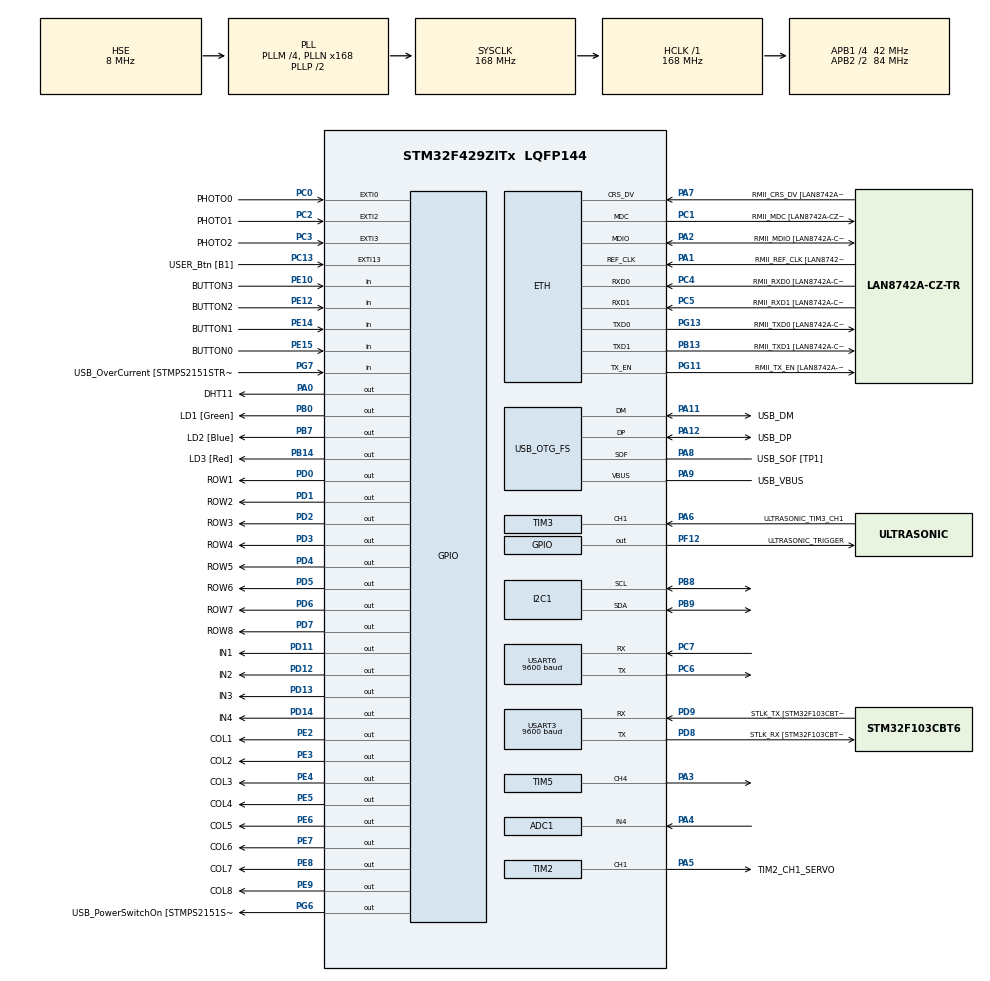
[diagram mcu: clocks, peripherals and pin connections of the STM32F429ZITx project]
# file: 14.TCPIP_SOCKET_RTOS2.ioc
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ADC1.Channel-2\#ChannelRegularConversion=ADC_CHANNEL_4
ADC1.ContinuousConvMode=ENABLE
ADC1.NbrOfConversionFlag=1
ADC1.Rank-2\#ChannelRegularConversion=1
ADC1.SamplingTime-2\#ChannelRegularConversion=ADC_SAMPLETIME_480CYCLES
ADC1.master=1
ETH.MACAddr=00\:80\:E1\:00\:00\:76
ETH.MediaInterface=HAL_ETH_RMII_MODE
FREERTOS.Mutexes01=myMutex01,Dynamic,NULL
FREERTOS.Tasks01=defaultTask,24,128,StartDefaultTask,Default,NULL,Dynamic,NULL,NULL;Task1,8,128,Task1_func,Default,NULL,Dynamic,NULL,NULL;Task2,8,128,Task2_func,Default,NULL,Dynamic,NULL,NULL;Task3,8,128,Task3_func,Default,NULL,Dynamic,NULL,NULL
FREERTOS.configUSE_NEWLIB_REENTRANT=1
LWIP.BSP.number=1
LWIP.GATEWAY_ADDRESS=010.010.015.254
LWIP.IP_ADDRESS=010.010.015.076
LWIP.LWIP_DHCP=0
LWIP.NETMASK_ADDRESS=255.255.255.000
LWIP.Version=v2.1.2_Cube
LWIP0.BSP.STBoard=false
LWIP0.BSP.api=BSP_COMPONENT_DRIVER
LWIP0.BSP.component=LAN8742
LWIP0.BSP.instance=LAN8742
LWIP0.BSP.name=Driver_PHY
LWIP0.BSP.semaphore=S_LAN8742
LWIP0.BSP.solution=LAN8742
Mcu.Family=STM32F4
Mcu.Name=STM32F429ZITx
Mcu.Package=LQFP144
NVIC.ADC_IRQn=true\:5\:0\:false\:false\:true\:true\:true\:true\:true
NVIC.ETH_IRQn=true\:5\:0\:false\:false\:true\:true\:true\:true\:true
NVIC.ETH_WKUP_IRQn=true\:5\:0\:false\:false\:true\:true\:true\:true\:true
NVIC.EXTI0_IRQn=true\:5\:0\:false\:false\:true\:true\:true\:true\:true
NVIC.EXTI2_IRQn=true\:5\:0\:false\:false\:true\:true\:true\:true\:true
NVIC.EXTI3_IRQn=true\:5\:0\:false\:false\:true\:true\:true\:true\:true
NVIC.PriorityGroup=NVIC_PRIORITYGROUP_4
NVIC.TIM1_TRG_COM_TIM11_IRQn=true\:5\:0\:false\:false\:true\:true\:true\:true\:true
NVIC.TIM1_UP_TIM10_IRQn=true\:5\:0\:false\:false\:true\:true\:true\:true\:true
NVIC.TIM2_IRQn=true\:5\:0\:false\:false\:true\:true\:true\:true\:true
NVIC.TIM3_IRQn=true\:5\:0\:false\:false\:true\:true\:true\:true\:true
NVIC.TIM4_IRQn=true\:5\:0\:false\:false\:true\:true\:true\:true\:true
NVIC.TIM5_IRQn=true\:5\:0\:false\:false\:true\:true\:true\:true\:true
NVIC.TIM6_DAC_IRQn=true\:15\:0\:false\:false\:true\:false\:false\:true\:true
NVIC.TimeBase=TIM6_DAC_IRQn
NVIC.TimeBaseIP=TIM6
NVIC.USART3_IRQn=true\:5\:0\:false\:false\:true\:true\:true\:true\:true
NVIC.USART6_IRQn=true\:5\:0\:false\:false\:true\:true\:true\:true\:true
PA0/WKUP.GPIO_Label=DHT11
PA0/WKUP.Signal=GPIO_Output
PA1.GPIO_Label=RMII_REF_CLK [LAN8742A-CZ-TR_REFCLK0]
PA1.Mode=RMII
PA1.Signal=ETH_REF_CLK
PA10.GPIO_Label=USB_ID
PA10.Signal=USB_OTG_FS_ID
PA11.GPIO_Label=USB_DM
PA11.Mode=Device_Only
PA11.Signal=USB_OTG_FS_DM
PA12.GPIO_Label=USB_DP
PA12.Mode=Device_Only
PA12.Signal=USB_OTG_FS_DP
PA13.GPIO_Label=TMS
PA13.Mode=Serial_Wire
PA13.Signal=SYS_JTMS-SWDIO
PA14.GPIO_Label=TCK
PA14.Mode=Serial_Wire
PA14.Signal=SYS_JTCK-SWCLK
PA2.GPIO_Label=RMII_MDIO [LAN8742A-CZ-TR_MDIO]
PA2.Mode=RMII
PA2.Signal=ETH_MDIO
PA3.Signal=S_TIM5_CH4
PA4.Signal=ADCx_IN4
PA5.GPIO_Label=TIM2_CH1_SERVO
PA5.Signal=S_TIM2_CH1_ETR
PA6.GPIO_Label=ULTRASONIC_TIM3_CH1
PA6.Signal=S_TIM3_CH1
PA7.GPIO_Label=RMII_CRS_DV [LAN8742A-CZ-TR_CRS_DV]
PA7.Mode=RMII
PA7.Signal=ETH_CRS_DV
PA8.GPIO_Label=USB_SOF [TP1]
PA8.Mode=Activate_SOF_FS
PA8.Signal=USB_OTG_FS_SOF
PA9.GPIO_Label=USB_VBUS
PA9.Mode=Activate_VBUS
PA9.Signal=USB_OTG_FS_VBUS
PB0.GPIO_Label=LD1 [Green]
PB0.Signal=GPIO_Output
PB13.GPIO_Label=RMII_TXD1 [LAN8742A-CZ-TR_TXD1]
PB13.Mode=RMII
PB13.Signal=ETH_TXD1
PB14.GPIO_Label=LD3 [Red]
PB14.Signal=GPIO_Output
PB7.GPIO_Label=LD2 [Blue]
PB7.Signal=GPIO_Output
PB8.Mode=I2C
PB8.Signal=I2C1_SCL
PB9.Mode=I2C
PB9.Signal=I2C1_SDA
PC0.GPIO_Label=PHOTO0
PC0.Signal=GPXTI0
PC1.GPIO_Label=RMII_MDC [LAN8742A-CZ-TR_MDC]
PC1.Mode=RMII
PC1.Signal=ETH_MDC
PC13.GPIO_Label=USER_Btn [B1]
PC13.Signal=GPXTI13
PC14/OSC32_IN.Mode=LSE-External-Oscillator
PC14/OSC32_IN.Signal=RCC_OSC32_IN
PC15/OSC32_OUT.Mode=LSE-External-Oscillator
PC15/OSC32_OUT.Signal=RCC_OSC32_OUT
PC2.GPIO_Label=PHOTO1
PC2.Signal=GPXTI2
PC3.GPIO_Label=PHOTO2
PC3.Signal=GPXTI3
PC4.GPIO_Label=RMII_RXD0 [LAN8742A-CZ-TR_RXD0]
PC4.Mode=RMII
PC4.Signal=ETH_RXD0
PC5.GPIO_Label=RMII_RXD1 [LAN8742A-CZ-TR_RXD1]
PC5.Mode=RMII
PC5.Signal=ETH_RXD1
PC6.Mode=Asynchronous
PC6.Signal=USART6_TX
PC7.Mode=Asynchronous
PC7.Signal=USART6_RX
PD0.GPIO_Label=ROW1
PD0.Signal=GPIO_Output
PD1.GPIO_Label=ROW2
PD1.Signal=GPIO_Output
PD11.GPIO_Label=IN1
PD11.Signal=GPIO_Output
PD12.GPIO_Label=IN2
PD12.Signal=GPIO_Output
PD13.GPIO_Label=IN3
PD13.Signal=GPIO_Output
PD14.GPIO_Label=IN4
PD14.Signal=GPIO_Output
PD2.GPIO_Label=ROW3
PD2.Signal=GPIO_Output
PD3.GPIO_Label=ROW4
PD3.Signal=GPIO_Output
PD4.GPIO_Label=ROW5
PD4.Signal=GPIO_Output
PD5.GPIO_Label=ROW6
PD5.Signal=GPIO_Output
PD6.GPIO_Label=ROW7
PD6.Signal=GPIO_Output
PD7.GPIO_Label=ROW8
PD7.Signal=GPIO_Output
PD8.GPIO_Label=STLK_RX [STM32F103CBT6_PA3]
PD8.Mode=Asynchronous
PD8.Signal=USART3_TX
PD9.GPIO_Label=STLK_TX [STM32F103CBT6_PA2]
PD9.Mode=Asynchronous
PD9.Signal=USART3_RX
PE10.GPIO_Label=BUTTON3
PE10.Signal=GPIO_Input
PE12.GPIO_Label=BUTTON2
PE12.Signal=GPIO_Input
PE14.GPIO_Label=BUTTON1
PE14.Signal=GPIO_Input
PE15.GPIO_Label=BUTTON0
PE15.Signal=GPIO_Input
PE2.GPIO_Label=COL1
PE2.Signal=GPIO_Output
PE3.GPIO_Label=COL2
PE3.Signal=GPIO_Output
PE4.GPIO_Label=COL3
PE4.Signal=GPIO_Output
PE5.GPIO_Label=COL4
PE5.Signal=GPIO_Output
PE6.GPIO_Label=COL5
PE6.Signal=GPIO_Output
PE7.GPIO_Label=COL6
PE7.Signal=GPIO_Output
PE8.GPIO_Label=COL7
PE8.Signal=GPIO_Output
PE9.GPIO_Label=COL8
PE9.Signal=GPIO_Output
PF12.GPIO_Label=ULTRASONIC_TRIGGER
PF12.Signal=GPIO_Output
PG11.GPIO_Label=RMII_TX_EN [LAN8742A-CZ-TR_TXEN]
PG11.Mode=RMII
PG11.Signal=ETH_TX_EN
PG13.GPIO_Label=RMII_TXD0 [LAN8742A-CZ-TR_TXD0]
PG13.Mode=RMII
PG13.Signal=ETH_TXD0
PG6.GPIO_Label=USB_PowerSwitchOn [STMPS2151STR_EN]
PG6.Signal=GPIO_Output
PG7.GPIO_Label=USB_OverCurrent [STMPS2151STR_FAULT]
PG7.Signal=GPIO_Input
PH0/OSC_IN.GPIO_Label=MCO [STM32F103CBT6_PA8]
PH0/OSC_IN.Mode=HSE-External-Clock-Source
PH0/OSC_IN.Signal=RCC_OSC_IN
PH1/OSC_OUT.Mode=HSE-External-Clock-Source
PH1/OSC_OUT.Signal=RCC_OSC_OUT
ProjectManager.HeapSize=0x200
ProjectManager.StackSize=0x400
ProjectManager.TargetToolchain=STM32CubeIDE
RCC.48MHZClocksFreq_Value=48000000
RCC.AHBFreq_Value=168000000
RCC.APB1CLKDivider=RCC_HCLK_DIV4
RCC.APB1Freq_Value=42000000
RCC.APB1TimFreq_Value=84000000
RCC.APB2CLKDivider=RCC_HCLK_DIV2
RCC.APB2Freq_Value=84000000
RCC.APB2TimCLKDivider=2
RCC.APB2TimFreq_Value=168000000
RCC.CortexFreq_Value=168000000
RCC.HCLKFreq_Value=168000000
RCC.HSE_VALUE=8000000
RCC.HSI_VALUE=16000000
RCC.PLLM=4
RCC.PLLMUL=RCC_PLL_MUL9
RCC.PLLN=168
RCC.PLLQ=7
RCC.PRESCALERUSB=RCC_USBCLKSOURCE_PLL_DIV1_5
RCC.SYSCLKFreq_VALUE=168000000
RCC.SYSCLKSource=RCC_SYSCLKSOURCE_PLLCLK
RCC.SYSCLKSourceVirtual=RCC_SYSCLKSOURCE_PLLCLK
RCC.USBFreq_Value=48000000
RCC.VCOOutputFreq_Value=336000000
RTC.Date=16
RTC.Hours=9
RTC.Minutes=38
RTC.Month=RTC_MONTH_OCTOBER
RTC.Year=23
SH.ADCx_IN4.0=ADC1_IN4,IN4
SH.S_TIM2_CH1_ETR.0=TIM2_CH1,PWM Generation1 CH1
SH.S_TIM3_CH1.0=TIM3_CH1,Input_Capture1_from_TI1
SH.S_TIM5_CH4.0=TIM5_CH4,PWM Generation4 CH4
TIM10.Period=10000-1
TIM10.Prescaler=168-1
TIM11.Prescaler=168-1
TIM2.Channel-PWM\ Generation1\ CH1=TIM_CHANNEL_1
TIM2.Period=1000-1
TIM2.Prescaler=1680-1
TIM2.Pulse-PWM\ Generation1\ CH1=500-1
TIM3.Channel-Input_Capture1_from_TI1=TIM_CHANNEL_1
TIM3.ICPolarity_CH1=TIM_INPUTCHANNELPOLARITY_BOTHEDGE
TIM3.Prescaler=84-1
TIM4.Period=100-1
TIM4.Prescaler=840-1
TIM5.Channel-PWM\ Generation4\ CH4=TIM_CHANNEL_4
TIM5.Period=400-1
TIM5.Prescaler=52.5-1
TIM5.Pulse-PWM\ Generation4\ CH4=200-1
USART3.BaudRate=9600
USART3.VirtualMode=VM_ASYNC
USART6.BaudRate=9600
USART6.VirtualMode=VM_ASYNC
USB_OTG_FS.VirtualMode=Device_Only
VP_FREERTOS_VS_CMSIS_V2.Mode=CMSIS_V2
VP_LWIP_VS_Enabled.Mode=Enabled
VP_RTC_VS_RTC_Activate.Mode=RTC_Enabled
VP_RTC_VS_RTC_Calendar.Mode=RTC_Calendar
VP_SYS_VS_tim6.Mode=TIM6
VP_TIM10_VS_ClockSourceINT.Mode=Enable_Timer
VP_TIM11_VS_ClockSourceINT.Mode=Enable_Timer
VP_TIM4_VS_ClockSourceINT.Mode=Internal
VP_TIM5_VS_ClockSourceINT.Mode=Internal
board=NUCLEO-F429ZI

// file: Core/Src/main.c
/* USER CODE BEGIN Header */
/**
  ******************************************************************************
  * @file           : main.c
  * @brief          : Main program body
  ******************************************************************************
  * @attention
  *
  * Copyright (c) 2023 STMicroelectronics.
  * All rights reserved.
  *
  * This software is licensed under terms that can be found in the LICENSE file
  * in the root directory of this software component.
  * If no LICENSE file comes with this software, it is provided AS-IS.
  *
  ******************************************************************************
  */
/* USER CODE END Header */
#include "main.h"
#include "cmsis_os.h"
#include "lwip.h"
/* USER CODE BEGIN Includes */
#include "lwip/udp.h"		// ADD_JUHEE
#include "udp_echoserver.h"  // ADD_SIKWON
/* USER CODE END Includes */

ADC_HandleTypeDef hadc1;

I2C_HandleTypeDef hi2c1;

RTC_HandleTypeDef hrtc;

TIM_HandleTypeDef htim2;
TIM_HandleTypeDef htim3;
TIM_HandleTypeDef htim4;
TIM_HandleTypeDef htim5;
TIM_HandleTypeDef htim10;
TIM_HandleTypeDef htim11;

UART_HandleTypeDef huart3;
UART_HandleTypeDef huart6;

PCD_HandleTypeDef hpcd_USB_OTG_FS;

/* Definitions for defaultTask */
osThreadId_t defaultTaskHandle;
const osThreadAttr_t defaultTask_attributes = {
  .name = "defaultTask",
  .stack_size = 128 * 4,
  .priority = (osPriority_t) osPriorityNormal,
};
/* Definitions for Task1 */
osThreadId_t Task1Handle;
const osThreadAttr_t Task1_attributes = {
  .name = "Task1",
  .stack_size = 128 * 4,
  .priority = (osPriority_t) osPriorityLow,
};
/* Definitions for Task2 */
osThreadId_t Task2Handle;
const osThreadAttr_t Task2_attributes = {
  .name = "Task2",
  .stack_size = 128 * 4,
  .priority = (osPriority_t) osPriorityLow,
};
/* Definitions for Task3 */
osThreadId_t Task3Handle;
const osThreadAttr_t Task3_attributes = {
  .name = "Task3",
  .stack_size = 128 * 4,
  .priority = (osPriority_t) osPriorityLow,
};
/* Definitions for myMutex01 */
osMutexId_t myMutex01Handle;
const osMutexAttr_t myMutex01_attributes = {
  .name = "myMutex01"
};
/* USER CODE BEGIN PV */
uint8_t rx_data;   // uart3 rx data
uint8_t bt_rx_data;   // uart6 bt rx data
volatile int TIM10_10ms_counter=0;
volatile int TIM10_10ms_ultrasonic=0;
/* USER CODE END PV */

void SystemClock_Config(void);
static void MX_GPIO_Init(void);
static void MX_USART3_UART_Init(void);
static void MX_USB_OTG_FS_PCD_Init(void);
static void MX_USART6_UART_Init(void);
static void MX_TIM10_Init(void);
static void MX_TIM11_Init(void);
static void MX_TIM3_Init(void);
static void MX_TIM4_Init(void);
static void MX_TIM2_Init(void);
static void MX_RTC_Init(void);
static void MX_TIM5_Init(void);
static void MX_I2C1_Init(void);
static void MX_ADC1_Init(void);
void StartDefaultTask(void *argument);
void Task1_func(void *argument);
void Task2_func(void *argument);
void Task3_func(void *argument);

/* USER CODE BEGIN PFP */
extern void led_main(void);
extern void pc_command_processing(void);
extern void bt_command_processing(void);
extern void DHT11_main(void);
extern void DHT11_Init(void);
extern void DHT11_processing(void);
extern void ultrasonic_processing(void);
extern void i2c_lcd_main(void);
extern void i2c_lcd_init(void);
extern void lcd_string(uint8_t *str);
extern void move_cursor(uint8_t row, uint8_t column);
extern void dcmotor_pwm_control(void);
extern void servo_motor_test_main(void);
extern void get_rtc(void);
extern void lcd_display_mode_select(void);
extern void set_time_button_ui(void);
extern void buzzer_main();
extern int dotmatrix_main_test(void);
extern int dotmatrix_main(void);
extern void stepmotor_main_test(void);

void delay_us(unsigned long us);
/* USER CODE END PFP */

/* USER CODE BEGIN 0 */
//---------------
// call by SysTick_Handler of stm32f4xx_it.c
// ARM default timer
// enter here every 1ms
volatile int t1ms_counter=0;  // volatile : for disable optimize
void HAL_SYSTICK_Handler(void)
{
	t1ms_counter++;   // 1ms timer
}
//----------  printf start ----------
#ifdef __GNUC__
/* With GCC, small printf (option LD Linker->Libraries->Small printf
   set to 'Yes') calls __io_putchar() */
#define PUTCHAR_PROTOTYPE int __io_putchar(int ch)
#else
#define PUTCHAR_PROTOTYPE int fputc(int ch, FILE *f)
#endif /* __GNUC_ */
/**
  * @brief  Retargets the C library printf function to the USART.
  * @param  None
  * @retval None
  */
PUTCHAR_PROTOTYPE   // Add for printf
{
  /* Place your implementation of fputc here */
  /* e.g. write a character to the USART3 and Loop until the end of transmission */
  HAL_UART_Transmit(&huart3, (uint8_t *)&ch, 1, 0xFFFF);

  return ch;
}
//----------  printf end ----------

void delay_us(unsigned long us)
{
	__HAL_TIM_SET_COUNTER(&htim11,0);   // tim11 clear
	while(__HAL_TIM_GET_COUNTER(&htim11) < us)
		;
}
// 1. move from Driver/STM32F4xx_HAL_Driver/Src/stm32f4xx_hal_gpio.c to here
// 2. enter here every external interrupt
volatile int ext_int_no = -1;  // GPIO_Pin?�� 0번도 존재?��?���???? 구분?���???? ?��?��?��
void HAL_GPIO_EXTI_Callback(uint16_t GPIO_Pin)
{
printf("EXT INT\0");
	switch(GPIO_Pin)
	{
	case PHOTO0_Pin:
		ext_int_no=GPIO_Pin;
		nucleo_stm32f429zi_led_off();
		HAL_GPIO_WritePin(GPIOB, GPIO_PIN_0, 1); // LED1
		break;
	case PHOTO1_Pin:
		ext_int_no=GPIO_Pin;
		nucleo_stm32f429zi_led_off();
		HAL_GPIO_WritePin(GPIOB, GPIO_PIN_7, 1);   // LED2
		break;
	case PHOTO2_Pin:
		ext_int_no=GPIO_Pin;
		nucleo_stm32f429zi_led_off();
		HAL_GPIO_WritePin(GPIOB, GPIO_PIN_14, 1);  // LED3
		break;
	}
}
uint16_t adcValue[4];
void HAL_ADC_ConvCpltCallback(ADC_HandleTypeDef* hadc)
{
	if (hadc->Instance == ADC1)
	{
		adcValue[0] = HAL_ADC_GetValue(&hadc1);
		HAL_ADC_Start_IT(&hadc1);
	}
}
// led off on STM32F429ZI
void nucleo_stm32f429zi_led_off()
{
	HAL_GPIO_WritePin(GPIOB, GPIO_PIN_0, 0);
	HAL_GPIO_WritePin(GPIOB, GPIO_PIN_7, 0);
	HAL_GPIO_WritePin(GPIOB, GPIO_PIN_14, 0);
}
void nucleo_stm32f429zi_led_on()
{
	HAL_GPIO_WritePin(GPIOB, GPIO_PIN_0, 1);
	HAL_GPIO_WritePin(GPIOB, GPIO_PIN_7, 1);
	HAL_GPIO_WritePin(GPIOB, GPIO_PIN_14, 1);
}
/* USER CODE END 0 */

int main(void)
{

  /* MCU Configuration--------------------------------------------------------*/

  /* Reset of all peripherals, Initializes the Flash interface and the Systick. */
  HAL_Init();

  /* Configure the system clock */
  SystemClock_Config();

  /* Initialize all configured peripherals */
  MX_GPIO_Init();
  MX_USART3_UART_Init();
  MX_USB_OTG_FS_PCD_Init();
  MX_USART6_UART_Init();
  MX_TIM10_Init();
  MX_TIM11_Init();
  MX_TIM3_Init();
  MX_TIM4_Init();
  MX_TIM2_Init();
  MX_RTC_Init();
  MX_TIM5_Init();
  MX_I2C1_Init();
  MX_ADC1_Init();
  /* USER CODE BEGIN 2 */
  HAL_UART_Receive_IT(&huart3, &rx_data, 1);   // assing to RX INT
  HAL_UART_Receive_IT(&huart6, &bt_rx_data, 1);   // for BT assing to RX INT
  HAL_TIM_Base_Start_IT(&htim10);   // ADD_SIKWON_1011
  HAL_TIM_Base_Start_IT(&htim11);   // ADD_SIKWON_1011
  HAL_TIM_IC_Start_IT(&htim3, TIM_CHANNEL_1);   // for count pulse(rising edge & falling edge)
  HAL_TIM_PWM_Start_IT(&htim4, TIM_CHANNEL_1);  // for DC motor PWM control
  HAL_TIM_PWM_Start(&htim2, TIM_CHANNEL_1);   // for SERVO motor PWM control
  HAL_TIM_PWM_Start(&htim5, TIM_CHANNEL_4);   // PIEZO Buzzer
  HAL_ADC_Start_IT(&hadc1);

//  DHT11_Init();
  i2c_lcd_init();
  init_dotmatrix();

  TIM10_10ms_counter=0;

// stepmotor_main_test();

//  dotmatrix_main();

//  dotmatrix_main_test();
//  led_main();
//  DHT11_main();
//  i2c_lcd_main();
//  servo_motor_test_main();
//    buzzer_main();

  /* USER CODE END 2 */

  /* Init scheduler */
  osKernelInitialize();
  /* Create the mutex(es) */
  /* creation of myMutex01 */
  myMutex01Handle = osMutexNew(&myMutex01_attributes);

  /* Create the thread(s) */
  /* creation of defaultTask */
  defaultTaskHandle = osThreadNew(StartDefaultTask, NULL, &defaultTask_attributes);

  /* creation of Task1 */
  Task1Handle = osThreadNew(Task1_func, NULL, &Task1_attributes);

  /* creation of Task2 */
  Task2Handle = osThreadNew(Task2_func, NULL, &Task2_attributes);

  /* creation of Task3 */
  Task3Handle = osThreadNew(Task3_func, NULL, &Task3_attributes);

  /* Start scheduler */
  osKernelStart();
  /* We should never get here as control is now taken by the scheduler */
  /* Infinite loop */
  /* USER CODE BEGIN WHILE */
  while (1)
  {
	  printf("cds sensor: %d\n", adcValue[0]);
	  if (adcValue[0] < 2500)
	  {
		  nucleo_stm32f429zi_led_on();
	  }
	  else
	  {
		  nucleo_stm32f429zi_led_off();
	  }
	  HAL_Delay(10);
//	DHT11_processing();
// 	pc_command_processing();
// 	bt_command_processing();
// 	ultrasonic_processing();
// 	dcmotor_pwm_control();
// 	get_rtc();
// 	lcd_display_mode_select();
// 	set_time_button_ui();
    /* USER CODE END WHILE */

  }
}

void SystemClock_Config(void)
{
  RCC_OscInitTypeDef RCC_OscInitStruct = {0};
  RCC_ClkInitTypeDef RCC_ClkInitStruct = {0};

  /** Configure the main internal regulator output voltage
  */
  __HAL_RCC_PWR_CLK_ENABLE();
  __HAL_PWR_VOLTAGESCALING_CONFIG(PWR_REGULATOR_VOLTAGE_SCALE1);

  /** Initializes the RCC Oscillators according to the specified parameters
  * in the RCC_OscInitTypeDef structure.
  */
  RCC_OscInitStruct.OscillatorType = RCC_OSCILLATORTYPE_LSI|RCC_OSCILLATORTYPE_HSE;
  RCC_OscInitStruct.HSEState = RCC_HSE_BYPASS;
  RCC_OscInitStruct.LSIState = RCC_LSI_ON;
  RCC_OscInitStruct.PLL.PLLState = RCC_PLL_ON;
  RCC_OscInitStruct.PLL.PLLSource = RCC_PLLSOURCE_HSE;
  RCC_OscInitStruct.PLL.PLLM = 4;
  RCC_OscInitStruct.PLL.PLLN = 168;
  RCC_OscInitStruct.PLL.PLLP = RCC_PLLP_DIV2;
  RCC_OscInitStruct.PLL.PLLQ = 7;
  if (HAL_RCC_OscConfig(&RCC_OscInitStruct) != HAL_OK)
  {
    Error_Handler();
  }

  /** Initializes the CPU, AHB and APB buses clocks
  */
  RCC_ClkInitStruct.ClockType = RCC_CLOCKTYPE_HCLK|RCC_CLOCKTYPE_SYSCLK
                              |RCC_CLOCKTYPE_PCLK1|RCC_CLOCKTYPE_PCLK2;
  RCC_ClkInitStruct.SYSCLKSource = RCC_SYSCLKSOURCE_PLLCLK;
  RCC_ClkInitStruct.AHBCLKDivider = RCC_SYSCLK_DIV1;
  RCC_ClkInitStruct.APB1CLKDivider = RCC_HCLK_DIV4;
  RCC_ClkInitStruct.APB2CLKDivider = RCC_HCLK_DIV2;

  if (HAL_RCC_ClockConfig(&RCC_ClkInitStruct, FLASH_LATENCY_5) != HAL_OK)
  {
    Error_Handler();
  }
}

static void MX_ADC1_Init(void)
{

  ADC_ChannelConfTypeDef sConfig = {0};

  /** Configure the global features of the ADC (Clock, Resolution, Data Alignment and number of conversion)
  */
  hadc1.Instance = ADC1;
  hadc1.Init.ClockPrescaler = ADC_CLOCK_SYNC_PCLK_DIV4;
  hadc1.Init.Resolution = ADC_RESOLUTION_12B;
  hadc1.Init.ScanConvMode = DISABLE;
  hadc1.Init.ContinuousConvMode = ENABLE;
  hadc1.Init.DiscontinuousConvMode = DISABLE;
  hadc1.Init.ExternalTrigConvEdge = ADC_EXTERNALTRIGCONVEDGE_NONE;
  hadc1.Init.ExternalTrigConv = ADC_SOFTWARE_START;
  hadc1.Init.DataAlign = ADC_DATAALIGN_RIGHT;
  hadc1.Init.NbrOfConversion = 1;
  hadc1.Init.DMAContinuousRequests = DISABLE;
  hadc1.Init.EOCSelection = ADC_EOC_SINGLE_CONV;
  if (HAL_ADC_Init(&hadc1) != HAL_OK)
  {
    Error_Handler();
  }

  /** Configure for the selected ADC regular channel its corresponding rank in the sequencer and its sample time.
  */
  sConfig.Channel = ADC_CHANNEL_4;
  sConfig.Rank = 1;
  sConfig.SamplingTime = ADC_SAMPLETIME_480CYCLES;
  if (HAL_ADC_ConfigChannel(&hadc1, &sConfig) != HAL_OK)
  {
    Error_Handler();
  }

}

static void MX_I2C1_Init(void)
{

  hi2c1.Instance = I2C1;
  hi2c1.Init.ClockSpeed = 100000;
  hi2c1.Init.DutyCycle = I2C_DUTYCYCLE_2;
  hi2c1.Init.OwnAddress1 = 0;
  hi2c1.Init.AddressingMode = I2C_ADDRESSINGMODE_7BIT;
  hi2c1.Init.DualAddressMode = I2C_DUALADDRESS_DISABLE;
  hi2c1.Init.OwnAddress2 = 0;
  hi2c1.Init.GeneralCallMode = I2C_GENERALCALL_DISABLE;
  hi2c1.Init.NoStretchMode = I2C_NOSTRETCH_DISABLE;
  if (HAL_I2C_Init(&hi2c1) != HAL_OK)
  {
    Error_Handler();
  }

  /** Configure Analogue filter
  */
  if (HAL_I2CEx_ConfigAnalogFilter(&hi2c1, I2C_ANALOGFILTER_ENABLE) != HAL_OK)
  {
    Error_Handler();
  }

  /** Configure Digital filter
  */
  if (HAL_I2CEx_ConfigDigitalFilter(&hi2c1, 0) != HAL_OK)
  {
    Error_Handler();
  }

}

static void MX_RTC_Init(void)
{

  RTC_TimeTypeDef sTime = {0};
  RTC_DateTypeDef sDate = {0};

  /** Initialize RTC Only
  */
  hrtc.Instance = RTC;
  hrtc.Init.HourFormat = RTC_HOURFORMAT_24;
  hrtc.Init.AsynchPrediv = 127;
  hrtc.Init.SynchPrediv = 255;
  hrtc.Init.OutPut = RTC_OUTPUT_DISABLE;
  hrtc.Init.OutPutPolarity = RTC_OUTPUT_POLARITY_HIGH;
  hrtc.Init.OutPutType = RTC_OUTPUT_TYPE_OPENDRAIN;
  if (HAL_RTC_Init(&hrtc) != HAL_OK)
  {
    Error_Handler();
  }

  /** Initialize RTC and set the Time and Date
  */
  sTime.Hours = 0x9;
  sTime.Minutes = 0x38;
  sTime.Seconds = 0x0;
  sTime.DayLightSaving = RTC_DAYLIGHTSAVING_NONE;
  sTime.StoreOperation = RTC_STOREOPERATION_RESET;
  if (HAL_RTC_SetTime(&hrtc, &sTime, RTC_FORMAT_BCD) != HAL_OK)
  {
    Error_Handler();
  }
  sDate.WeekDay = RTC_WEEKDAY_MONDAY;
  sDate.Month = RTC_MONTH_OCTOBER;
  sDate.Date = 0x16;
  sDate.Year = 0x23;

  if (HAL_RTC_SetDate(&hrtc, &sDate, RTC_FORMAT_BCD) != HAL_OK)
  {
    Error_Handler();
  }

}

static void MX_TIM2_Init(void)
{

  TIM_MasterConfigTypeDef sMasterConfig = {0};
  TIM_OC_InitTypeDef sConfigOC = {0};

  htim2.Instance = TIM2;
  htim2.Init.Prescaler = 1680-1;
  htim2.Init.CounterMode = TIM_COUNTERMODE_UP;
  htim2.Init.Period = 1000-1;
  htim2.Init.ClockDivision = TIM_CLOCKDIVISION_DIV1;
  htim2.Init.AutoReloadPreload = TIM_AUTORELOAD_PRELOAD_DISABLE;
  if (HAL_TIM_PWM_Init(&htim2) != HAL_OK)
  {
    Error_Handler();
  }
  sMasterConfig.MasterOutputTrigger = TIM_TRGO_RESET;
  sMasterConfig.MasterSlaveMode = TIM_MASTERSLAVEMODE_DISABLE;
  if (HAL_TIMEx_MasterConfigSynchronization(&htim2, &sMasterConfig) != HAL_OK)
  {
    Error_Handler();
  }
  sConfigOC.OCMode = TIM_OCMODE_PWM1;
  sConfigOC.Pulse = 500-1;
  sConfigOC.OCPolarity = TIM_OCPOLARITY_HIGH;
  sConfigOC.OCFastMode = TIM_OCFAST_DISABLE;
  if (HAL_TIM_PWM_ConfigChannel(&htim2, &sConfigOC, TIM_CHANNEL_1) != HAL_OK)
  {
    Error_Handler();
  }
  HAL_TIM_MspPostInit(&htim2);

}

static void MX_TIM3_Init(void)
{

  TIM_MasterConfigTypeDef sMasterConfig = {0};
  TIM_IC_InitTypeDef sConfigIC = {0};

  htim3.Instance = TIM3;
  htim3.Init.Prescaler = 84-1;
  htim3.Init.CounterMode = TIM_COUNTERMODE_UP;
  htim3.Init.Period = 65535;
  htim3.Init.ClockDivision = TIM_CLOCKDIVISION_DIV1;
  htim3.Init.AutoReloadPreload = TIM_AUTORELOAD_PRELOAD_DISABLE;
  if (HAL_TIM_IC_Init(&htim3) != HAL_OK)
  {
    Error_Handler();
  }
  sMasterConfig.MasterOutputTrigger = TIM_TRGO_RESET;
  sMasterConfig.MasterSlaveMode = TIM_MASTERSLAVEMODE_DISABLE;
  if (HAL_TIMEx_MasterConfigSynchronization(&htim3, &sMasterConfig) != HAL_OK)
  {
    Error_Handler();
  }
  sConfigIC.ICPolarity = TIM_INPUTCHANNELPOLARITY_BOTHEDGE;
  sConfigIC.ICSelection = TIM_ICSELECTION_DIRECTTI;
  sConfigIC.ICPrescaler = TIM_ICPSC_DIV1;
  sConfigIC.ICFilter = 0;
  if (HAL_TIM_IC_ConfigChannel(&htim3, &sConfigIC, TIM_CHANNEL_1) != HAL_OK)
  {
    Error_Handler();
  }

}

static void MX_TIM4_Init(void)
{

  TIM_ClockConfigTypeDef sClockSourceConfig = {0};
  TIM_MasterConfigTypeDef sMasterConfig = {0};

  htim4.Instance = TIM4;
  htim4.Init.Prescaler = 840-1;
  htim4.Init.CounterMode = TIM_COUNTERMODE_UP;
  htim4.Init.Period = 100-1;
  htim4.Init.ClockDivision = TIM_CLOCKDIVISION_DIV1;
  htim4.Init.AutoReloadPreload = TIM_AUTORELOAD_PRELOAD_DISABLE;
  if (HAL_TIM_Base_Init(&htim4) != HAL_OK)
  {
    Error_Handler();
  }
  sClockSourceConfig.ClockSource = TIM_CLOCKSOURCE_INTERNAL;
  if (HAL_TIM_ConfigClockSource(&htim4, &sClockSourceConfig) != HAL_OK)
  {
    Error_Handler();
  }
  sMasterConfig.MasterOutputTrigger = TIM_TRGO_RESET;
  sMasterConfig.MasterSlaveMode = TIM_MASTERSLAVEMODE_DISABLE;
  if (HAL_TIMEx_MasterConfigSynchronization(&htim4, &sMasterConfig) != HAL_OK)
  {
    Error_Handler();
  }

}

static void MX_TIM5_Init(void)
{

  TIM_ClockConfigTypeDef sClockSourceConfig = {0};
  TIM_MasterConfigTypeDef sMasterConfig = {0};
  TIM_OC_InitTypeDef sConfigOC = {0};

  htim5.Instance = TIM5;
  htim5.Init.Prescaler = 52.5-1;
  htim5.Init.CounterMode = TIM_COUNTERMODE_UP;
  htim5.Init.Period = 400-1;
  htim5.Init.ClockDivision = TIM_CLOCKDIVISION_DIV1;
  htim5.Init.AutoReloadPreload = TIM_AUTORELOAD_PRELOAD_DISABLE;
  if (HAL_TIM_Base_Init(&htim5) != HAL_OK)
  {
    Error_Handler();
  }
  sClockSourceConfig.ClockSource = TIM_CLOCKSOURCE_INTERNAL;
  if (HAL_TIM_ConfigClockSource(&htim5, &sClockSourceConfig) != HAL_OK)
  {
    Error_Handler();
  }
  if (HAL_TIM_PWM_Init(&htim5) != HAL_OK)
  {
    Error_Handler();
  }
  sMasterConfig.MasterOutputTrigger = TIM_TRGO_RESET;
  sMasterConfig.MasterSlaveMode = TIM_MASTERSLAVEMODE_DISABLE;
  if (HAL_TIMEx_MasterConfigSynchronization(&htim5, &sMasterConfig) != HAL_OK)
  {
    Error_Handler();
  }
  sConfigOC.OCMode = TIM_OCMODE_PWM1;
  sConfigOC.Pulse = 200-1;
  sConfigOC.OCPolarity = TIM_OCPOLARITY_HIGH;
  sConfigOC.OCFastMode = TIM_OCFAST_DISABLE;
  if (HAL_TIM_PWM_ConfigChannel(&htim5, &sConfigOC, TIM_CHANNEL_4) != HAL_OK)
  {
    Error_Handler();
  }
  HAL_TIM_MspPostInit(&htim5);

}

static void MX_TIM10_Init(void)
{

  htim10.Instance = TIM10;
  htim10.Init.Prescaler = 168-1;
  htim10.Init.CounterMode = TIM_COUNTERMODE_UP;
  htim10.Init.Period = 10000-1;
  htim10.Init.ClockDivision = TIM_CLOCKDIVISION_DIV1;
  htim10.Init.AutoReloadPreload = TIM_AUTORELOAD_PRELOAD_DISABLE;
  if (HAL_TIM_Base_Init(&htim10) != HAL_OK)
  {
    Error_Handler();
  }

}

static void MX_TIM11_Init(void)
{

  htim11.Instance = TIM11;
  htim11.Init.Prescaler = 168-1;
  htim11.Init.CounterMode = TIM_COUNTERMODE_UP;
  htim11.Init.Period = 65535;
  htim11.Init.ClockDivision = TIM_CLOCKDIVISION_DIV1;
  htim11.Init.AutoReloadPreload = TIM_AUTORELOAD_PRELOAD_DISABLE;
  if (HAL_TIM_Base_Init(&htim11) != HAL_OK)
  {
    Error_Handler();
  }

}

static void MX_USART3_UART_Init(void)
{

  huart3.Instance = USART3;
  huart3.Init.BaudRate = 9600;
  huart3.Init.WordLength = UART_WORDLENGTH_8B;
  huart3.Init.StopBits = UART_STOPBITS_1;
  huart3.Init.Parity = UART_PARITY_NONE;
  huart3.Init.Mode = UART_MODE_TX_RX;
  huart3.Init.HwFlowCtl = UART_HWCONTROL_NONE;
  huart3.Init.OverSampling = UART_OVERSAMPLING_16;
  if (HAL_UART_Init(&huart3) != HAL_OK)
  {
    Error_Handler();
  }

}

static void MX_USART6_UART_Init(void)
{

  huart6.Instance = USART6;
  huart6.Init.BaudRate = 9600;
  huart6.Init.WordLength = UART_WORDLENGTH_8B;
  huart6.Init.StopBits = UART_STOPBITS_1;
  huart6.Init.Parity = UART_PARITY_NONE;
  huart6.Init.Mode = UART_MODE_TX_RX;
  huart6.Init.HwFlowCtl = UART_HWCONTROL_NONE;
  huart6.Init.OverSampling = UART_OVERSAMPLING_16;
  if (HAL_UART_Init(&huart6) != HAL_OK)
  {
    Error_Handler();
  }

}

static void MX_USB_OTG_FS_PCD_Init(void)
{

  hpcd_USB_OTG_FS.Instance = USB_OTG_FS;
  hpcd_USB_OTG_FS.Init.dev_endpoints = 4;
  hpcd_USB_OTG_FS.Init.speed = PCD_SPEED_FULL;
  hpcd_USB_OTG_FS.Init.dma_enable = DISABLE;
  hpcd_USB_OTG_FS.Init.phy_itface = PCD_PHY_EMBEDDED;
  hpcd_USB_OTG_FS.Init.Sof_enable = ENABLE;
  hpcd_USB_OTG_FS.Init.low_power_enable = DISABLE;
  hpcd_USB_OTG_FS.Init.lpm_enable = DISABLE;
  hpcd_USB_OTG_FS.Init.vbus_sensing_enable = ENABLE;
  hpcd_USB_OTG_FS.Init.use_dedicated_ep1 = DISABLE;
  if (HAL_PCD_Init(&hpcd_USB_OTG_FS) != HAL_OK)
  {
    Error_Handler();
  }

}

static void MX_GPIO_Init(void)
{
  GPIO_InitTypeDef GPIO_InitStruct = {0};

  /* GPIO Ports Clock Enable */
  __HAL_RCC_GPIOE_CLK_ENABLE();
  __HAL_RCC_GPIOC_CLK_ENABLE();
  __HAL_RCC_GPIOH_CLK_ENABLE();
  __HAL_RCC_GPIOA_CLK_ENABLE();
  __HAL_RCC_GPIOB_CLK_ENABLE();
  __HAL_RCC_GPIOF_CLK_ENABLE();
  __HAL_RCC_GPIOD_CLK_ENABLE();
  __HAL_RCC_GPIOG_CLK_ENABLE();

  /*Configure GPIO pin Output Level */
  HAL_GPIO_WritePin(GPIOE, COL1_Pin|COL2_Pin|COL3_Pin|COL4_Pin
                          |COL5_Pin|COL6_Pin|COL7_Pin|COL8_Pin, GPIO_PIN_RESET);

  /*Configure GPIO pin Output Level */
  HAL_GPIO_WritePin(DHT11_GPIO_Port, DHT11_Pin, GPIO_PIN_RESET);

  /*Configure GPIO pin Output Level */
  HAL_GPIO_WritePin(GPIOB, LD1_Pin|LD3_Pin|LD2_Pin, GPIO_PIN_RESET);

  /*Configure GPIO pin Output Level */
  HAL_GPIO_WritePin(ULTRASONIC_TRIGGER_GPIO_Port, ULTRASONIC_TRIGGER_Pin, GPIO_PIN_RESET);

  /*Configure GPIO pin Output Level */
  HAL_GPIO_WritePin(GPIOD, IN1_Pin|IN2_Pin|IN3_Pin|IN4_Pin
                          |ROW1_Pin|ROW2_Pin|ROW3_Pin|ROW4_Pin
                          |ROW5_Pin|ROW6_Pin|ROW7_Pin|ROW8_Pin, GPIO_PIN_RESET);

  /*Configure GPIO pin Output Level */
  HAL_GPIO_WritePin(USB_PowerSwitchOn_GPIO_Port, USB_PowerSwitchOn_Pin, GPIO_PIN_RESET);

  /*Configure GPIO pins : COL1_Pin COL2_Pin COL3_Pin COL4_Pin
                           COL5_Pin COL6_Pin COL7_Pin COL8_Pin */
  GPIO_InitStruct.Pin = COL1_Pin|COL2_Pin|COL3_Pin|COL4_Pin
                          |COL5_Pin|COL6_Pin|COL7_Pin|COL8_Pin;
  GPIO_InitStruct.Mode = GPIO_MODE_OUTPUT_PP;
  GPIO_InitStruct.Pull = GPIO_NOPULL;
  GPIO_InitStruct.Speed = GPIO_SPEED_FREQ_LOW;
  HAL_GPIO_Init(GPIOE, &GPIO_InitStruct);

  /*Configure GPIO pins : USER_Btn_Pin PHOTO0_Pin PHOTO1_Pin PHOTO2_Pin */
  GPIO_InitStruct.Pin = USER_Btn_Pin|PHOTO0_Pin|PHOTO1_Pin|PHOTO2_Pin;
  GPIO_InitStruct.Mode = GPIO_MODE_IT_RISING;
  GPIO_InitStruct.Pull = GPIO_NOPULL;
  HAL_GPIO_Init(GPIOC, &GPIO_InitStruct);

  /*Configure GPIO pin : DHT11_Pin */
  GPIO_InitStruct.Pin = DHT11_Pin;
  GPIO_InitStruct.Mode = GPIO_MODE_OUTPUT_PP;
  GPIO_InitStruct.Pull = GPIO_NOPULL;
  GPIO_InitStruct.Speed = GPIO_SPEED_FREQ_LOW;
  HAL_GPIO_Init(DHT11_GPIO_Port, &GPIO_InitStruct);

  /*Configure GPIO pins : LD1_Pin LD3_Pin LD2_Pin */
  GPIO_InitStruct.Pin = LD1_Pin|LD3_Pin|LD2_Pin;
  GPIO_InitStruct.Mode = GPIO_MODE_OUTPUT_PP;
  GPIO_InitStruct.Pull = GPIO_NOPULL;
  GPIO_InitStruct.Speed = GPIO_SPEED_FREQ_LOW;
  HAL_GPIO_Init(GPIOB, &GPIO_InitStruct);

  /*Configure GPIO pin : ULTRASONIC_TRIGGER_Pin */
  GPIO_InitStruct.Pin = ULTRASONIC_TRIGGER_Pin;
  GPIO_InitStruct.Mode = GPIO_MODE_OUTPUT_PP;
  GPIO_InitStruct.Pull = GPIO_NOPULL;
  GPIO_InitStruct.Speed = GPIO_SPEED_FREQ_LOW;
  HAL_GPIO_Init(ULTRASONIC_TRIGGER_GPIO_Port, &GPIO_InitStruct);

  /*Configure GPIO pins : BUTTON3_Pin BUTTON2_Pin BUTTON1_Pin BUTTON0_Pin */
  GPIO_InitStruct.Pin = BUTTON3_Pin|BUTTON2_Pin|BUTTON1_Pin|BUTTON0_Pin;
  GPIO_InitStruct.Mode = GPIO_MODE_INPUT;
  GPIO_InitStruct.Pull = GPIO_NOPULL;
  HAL_GPIO_Init(GPIOE, &GPIO_InitStruct);

  /*Configure GPIO pins : IN1_Pin IN2_Pin IN3_Pin IN4_Pin
                           ROW1_Pin ROW2_Pin ROW3_Pin ROW4_Pin
                           ROW5_Pin ROW6_Pin ROW7_Pin ROW8_Pin */
  GPIO_InitStruct.Pin = IN1_Pin|IN2_Pin|IN3_Pin|IN4_Pin
                          |ROW1_Pin|ROW2_Pin|ROW3_Pin|ROW4_Pin
                          |ROW5_Pin|ROW6_Pin|ROW7_Pin|ROW8_Pin;
  GPIO_InitStruct.Mode = GPIO_MODE_OUTPUT_PP;
  GPIO_InitStruct.Pull = GPIO_NOPULL;
  GPIO_InitStruct.Speed = GPIO_SPEED_FREQ_LOW;
  HAL_GPIO_Init(GPIOD, &GPIO_InitStruct);

  /*Configure GPIO pin : USB_PowerSwitchOn_Pin */
  GPIO_InitStruct.Pin = USB_PowerSwitchOn_Pin;
  GPIO_InitStruct.Mode = GPIO_MODE_OUTPUT_PP;
  GPIO_InitStruct.Pull = GPIO_NOPULL;
  GPIO_InitStruct.Speed = GPIO_SPEED_FREQ_LOW;
  HAL_GPIO_Init(USB_PowerSwitchOn_GPIO_Port, &GPIO_InitStruct);

  /*Configure GPIO pin : USB_OverCurrent_Pin */
  GPIO_InitStruct.Pin = USB_OverCurrent_Pin;
  GPIO_InitStruct.Mode = GPIO_MODE_INPUT;
  GPIO_InitStruct.Pull = GPIO_NOPULL;
  HAL_GPIO_Init(USB_OverCurrent_GPIO_Port, &GPIO_InitStruct);

  /* EXTI interrupt init*/
  HAL_NVIC_SetPriority(EXTI0_IRQn, 5, 0);
  HAL_NVIC_EnableIRQ(EXTI0_IRQn);

  HAL_NVIC_SetPriority(EXTI2_IRQn, 5, 0);
  HAL_NVIC_EnableIRQ(EXTI2_IRQn);

  HAL_NVIC_SetPriority(EXTI3_IRQn, 5, 0);
  HAL_NVIC_EnableIRQ(EXTI3_IRQn);

}

/* USER CODE BEGIN 4 */
ip_addr_t addr1; 			// ADD_JUHEE
struct phuf *p1;			// ADD send buffer
char temp_str[40];		// ADD temp buffer
struct udp_pcb *upcb1;		// ADD udp control  block
extern uint8_t udp_data[100];		// ADD udp data
/* USER CODE END 4 */

void StartDefaultTask(void *argument)
{
  /* init code for LWIP */
  MX_LWIP_Init();
  /* USER CODE BEGIN 5 */

  //====================	TCP/IP START 	======================//
  udp_echoserver_init();  		// ADD_SIKWON
  upcb1 = udp_new(); 			// ADD create new UDP control block
  IP4_ADDR(&addr1, 10,10,15,56);	// client PC IP address
  udp_bind(upcb1, IP_ADDR_ANY,9999);	// ADD
  //====================	TCP/IP END 		======================//

  /* Infinite loop */
  for(;;)
  {
	ethernetif_input(&gnetif);  // ADD_SIKWON
	sys_check_timeouts();   	// ADD_SIKWON

	udp_connect(upcb1, &addr1, 9999);
	sprintf(temp_str, "Hello juhee\n");
	p1 = pbuf_alloc(PBUF_TRANSPORT, strlen((char*)temp_str), PBUF_POOL);
	if (p1 != NULL)		// OK alloc
	{
		// 1. copy data to pbuf
		pbuf_take(p1, (char*)temp_str, strlen((char*)temp_str));
		// 2. send udp data
		udp_send(upcb1, p1);
		// 3. free the UDP connection
		udp_disconnect(upcb1);
		// 4. free pbuf
		pbuf_free(p1);
	}
	else
	{
		HAL_UART_Transmit(&huart3, "pbuf not alloc!!\n", strlen("pbuf not alloc!!\n"), 10);	//10ms timeout
	}
	osDelay(100);	// 100ms
  }
  /* USER CODE END 5 */
}

/* USER CODE BEGIN Header_Task1_func */
/**
* @brief Function implementing the Task1 thread.
* @param argument: Not used
* @retval None
*/
extern void init_dotmatrix(void);
/* USER CODE END Header_Task1_func */
void Task1_func(void *argument)
{
  /* USER CODE BEGIN Task1_func */
  /* Infinite loop */
  for(;;)
  {
    dotmatrix_main();
    osDelay(1);
  }
  /* USER CODE END Task1_func */
}

void Task2_func(void *argument)
{
  /* USER CODE BEGIN Task2_func */
  /* Infinite loop */
  for(;;)
  {
	stepmotor_main_test();
    osDelay(1);
  }
  /* USER CODE END Task2_func */
}

void Task3_func(void *argument)
{
  /* USER CODE BEGIN Task3_func */
  /* Infinite loop */
  for(;;)
  {
 	pc_command_processing();
    bt_command_processing();
    osDelay(1);
  }
  /* USER CODE END Task3_func */
}

void HAL_TIM_PeriodElapsedCallback(TIM_HandleTypeDef *htim)
{
  if (htim->Instance == TIM6) {
    HAL_IncTick();
  }
  /* USER CODE BEGIN Callback 1 */
	if (htim->Instance == TIM10)
	{
		TIM10_10ms_counter++;  // 10ms timer counter
		TIM10_10ms_ultrasonic++;  // ultrasonic trigger timer
	}
  /* USER CODE END Callback 1 */
}

void Error_Handler(void)
{
  __disable_irq();
  while (1)
  {
  }
}
